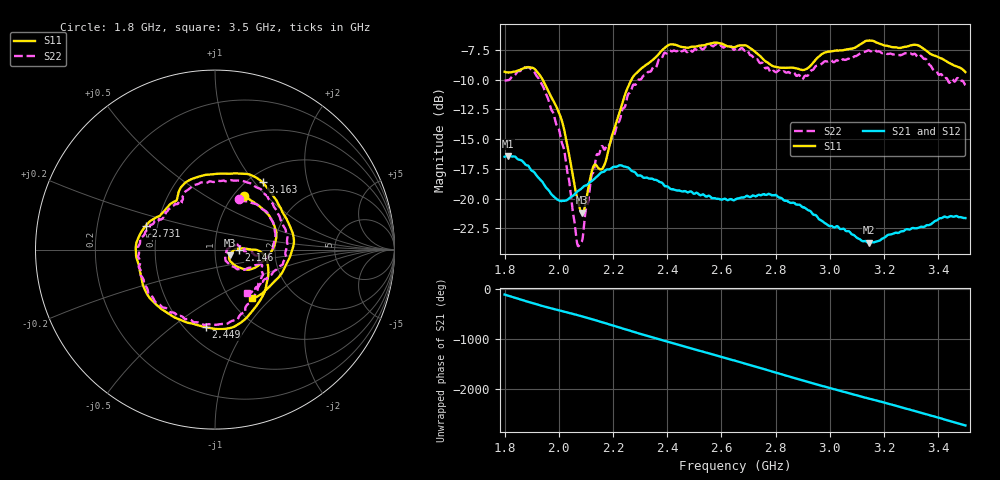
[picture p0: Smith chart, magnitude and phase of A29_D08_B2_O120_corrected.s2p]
! Created with skrf 1.9.0 (http://scikit-rf.org).
# Hz S RI R 50.0
!freq ReS11 ImS11 ReS21 ImS21 ReS12 ImS12 ReS22 ImS22
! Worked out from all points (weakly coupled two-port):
!   1601 points, 1.8 GHz to 3.5 GHz, reference 50 ohm
!   highest |S21| = -16.40 dB at 1.812 GHz (marker M1); lowest = -23.7 dB at 3.143 GHz (marker M2)
!   lowest |S11| = -21.2 dB at 2.087 GHz (marker M3), VSWR 1.19, Z = 58.7 - j3.68 ohm
!   |S11| at or under -10 dB: 1.94 GHz to 2.268 GHz (327.4 MHz wide, 15.6 % of centre)
!   |S22| runs from -24.0 to -7.0 dB; largest |S21 - S12| = 0.0029
!   S11 on the Smith chart (normalised r, x): 1.8 GHz: 1.12, +0.76; 2.146 GHz: 1.31, -0.01; 2.449 GHz: 0.63, -0.67; 2.731 GHz: 0.43, +0.14; 3.163 GHz: 1.16, +1.10; 3.5 GHz: 1.27, -0.77
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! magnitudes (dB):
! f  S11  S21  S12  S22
! 1.8 GHz  -9.3  -16.5  -16.5  -10.1
! 1.812 GHz  -9.4  -16.4  -16.4  -10.0
! 1.886 GHz  -9.0  -17.2  -17.3  -8.9
! 1.94 GHz  -10.0  -18.6  -18.6  -10.5
! 2.011 GHz  -13.5  -20.2  -20.2  -15.3
! 2.066 GHz  -19.8  -19.5  -19.5  -23.5
! 2.084 GHz  -21.2  -19.1  -19.1  -23.7
! 2.087 GHz  -21.2  -19.1  -19.1  -23.4
! 2.125 GHz  -17.4  -18.5  -18.4  -17.9
! 2.146 GHz  -17.4  -18.0  -18.0  -16.3
! 2.17 GHz  -17.1  -17.7  -17.7  -15.9
! 2.266 GHz  -10.1  -17.6  -17.6  -10.9
! 2.367 GHz  -7.9  -18.5  -18.5  -8.4
! 2.449 GHz  -7.2  -19.4  -19.4  -7.5
! 2.65 GHz  -7.3  -20.1  -20.1  -7.4
! 2.731 GHz  -7.8  -19.8  -19.8  -8.3
! 2.934 GHz  -8.7  -21.2  -21.2  -9.2
! 3.143 GHz  -6.7  -23.7  -23.6  -7.5
! 3.163 GHz  -6.8  -23.7  -23.6  -7.5
! 3.217 GHz  -7.2  -23.0  -23.0  -7.8
! 3.324 GHz  -7.1  -22.5  -22.4  -8.1
! 3.5 GHz  -9.4  -21.6  -21.6  -10.5
